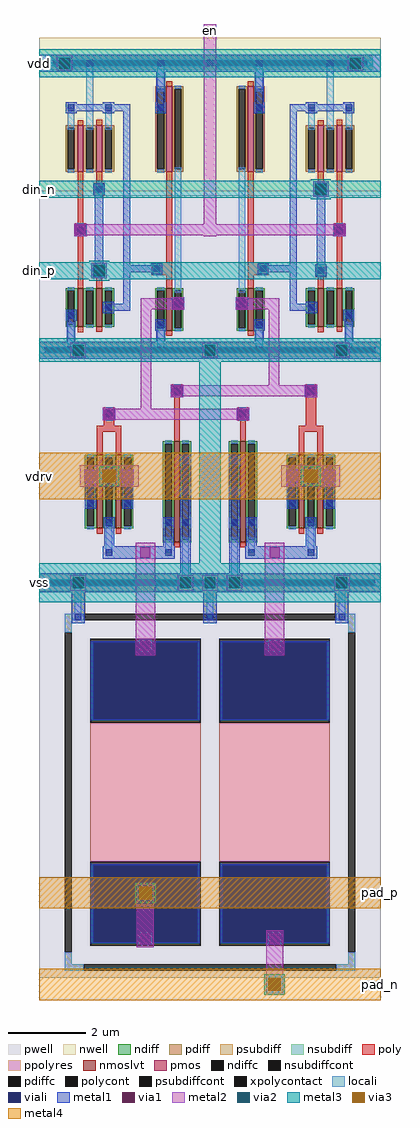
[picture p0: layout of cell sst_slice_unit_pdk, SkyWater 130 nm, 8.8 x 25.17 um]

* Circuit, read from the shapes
.subckt sst_slice_unit_pdk din_p din_n en pad_p pad_n vdrv vdd vss
XM1 n1 en vss vss sky130_fd_pr__nfet_01v8_lvt w=1 l=0.15
XM2 n2 din_p n1 vss sky130_fd_pr__nfet_01v8_lvt w=1 l=0.15
XM3 n3 n4 vdrv vss sky130_fd_pr__nfet_01v8_lvt w=1.9 l=0.15 m=2
XM4 n4 n2 vss vss sky130_fd_pr__nfet_01v8_lvt w=1.1 l=0.15
XM5 vss n5 n3 vss sky130_fd_pr__nfet_01v8_lvt w=2.6 l=0.15
XM6 n6 n4 vss vss sky130_fd_pr__nfet_01v8_lvt w=2.6 l=0.15
XM7 vss n7 n5 vss sky130_fd_pr__nfet_01v8_lvt w=1.1 l=0.15
XM8 n6 n5 vdrv vss sky130_fd_pr__nfet_01v8_lvt w=1.9 l=0.15 m=2
XM9 n8 din_n n7 vss sky130_fd_pr__nfet_01v8_lvt w=1 l=0.15
XM10 vss en n8 vss sky130_fd_pr__nfet_01v8_lvt w=1 l=0.15
XM11 vdd en n2 vdd sky130_fd_pr__pfet_01v8 w=1.2 l=0.15
XM12 n2 din_p vdd vdd sky130_fd_pr__pfet_01v8 w=1.2 l=0.15
XM13 n4 n2 vdd vdd sky130_fd_pr__pfet_01v8 w=2.2 l=0.15
XM14 vdd n7 n5 vdd sky130_fd_pr__pfet_01v8 w=2.2 l=0.15
XM15 vdd din_n n7 vdd sky130_fd_pr__pfet_01v8 w=1.2 l=0.15
XM16 n7 en vdd vdd sky130_fd_pr__pfet_01v8 w=1.2 l=0.15
XR17 n3 pad_p vss sky130_fd_pr__res_high_po w=2.85 l=3.59
XR18 n6 pad_n vss sky130_fd_pr__res_high_po w=2.85 l=3.59
.ends

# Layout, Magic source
magic
tech sky130A
magscale 1 2
<< pwell >>
rect -784 -957 784 957
rect -880 -957 880 3080
<< psubdiff >>
rect -748 887 -652 921
rect 652 887 748 921
rect -748 825 -714 887
rect 714 825 748 887
rect -748 -887 -714 -825
rect 714 -887 748 -825
rect -748 -921 -652 -887
rect 652 -921 748 -887
rect -880 1036 880 1124
rect -716 900 -644 1080
rect -36 900 36 1080
rect 644 900 716 1080
rect -880 2245 880 2315
<< psubdiffcont >>
rect -652 887 652 921
rect -748 -825 -714 825
rect 714 -825 748 825
rect -652 -921 652 -887
rect -852 1063 852 1097
rect -852 2263 852 2297
<< xpolycontact >>
rect -618 359 -48 791
rect -618 -791 -48 -359
rect 48 359 618 791
rect 48 -791 618 -359
<< ppolyres >>
rect -618 -359 -48 359
rect 48 -359 618 359
<< locali >>
rect -748 887 -652 921
rect 652 887 748 921
rect -748 825 -714 887
rect 714 825 748 887
rect -748 -887 -714 -825
rect 714 -887 748 -825
rect -748 -921 -652 -887
rect 652 -921 748 -887
rect -880 1063 880 1097
rect -697 900 -663 1080
rect -17 900 17 1080
rect 663 900 697 1080
rect -633 1728 -599 1744
rect -633 1356 -599 1372
rect -537 1728 -503 1744
rect -537 1356 -503 1372
rect -441 1728 -407 1744
rect -441 1356 -407 1372
rect -231 1798 -197 1814
rect -231 1286 -197 1302
rect -143 1798 -109 1814
rect -143 1286 -109 1302
rect 109 1798 143 1814
rect 109 1286 143 1302
rect 197 1798 231 1814
rect 197 1286 231 1302
rect 407 1728 441 1744
rect 407 1356 441 1372
rect 503 1728 537 1744
rect 503 1356 537 1372
rect 599 1728 633 1744
rect 599 1356 633 1372
rect -537 1236 -503 1384
rect -231 1236 -197 1314
rect -143 1080 -109 1314
rect 503 1236 537 1384
rect 197 1236 231 1314
rect 109 1080 143 1314
rect -538 1916 -502 1984
rect 152 1916 188 1984
rect -188 2036 -152 2104
rect 502 2036 538 2104
rect -880 2263 880 2297
rect -840 3743 840 3777
rect -733 2588 -699 2604
rect -733 2396 -699 2412
rect -637 2588 -603 2604
rect -637 2396 -603 2412
rect -541 2588 -507 2604
rect -541 2396 -507 2412
rect -733 3428 -699 3444
rect -733 3196 -699 3212
rect -637 3428 -603 3444
rect -637 3196 -603 3212
rect -541 3428 -507 3444
rect -541 3196 -507 3212
rect 507 2588 541 2604
rect 507 2396 541 2412
rect 603 2588 637 2604
rect 603 2396 637 2412
rect 699 2588 733 2604
rect 699 2396 733 2412
rect 507 3428 541 3444
rect 507 3196 541 3212
rect 603 3428 637 3444
rect 603 3196 637 3212
rect 699 3428 733 3444
rect 699 3196 733 3212
rect -271 2588 -237 2604
rect -271 2376 -237 2392
rect -183 2588 -149 2604
rect -183 2376 -149 2392
rect -271 3628 -237 3644
rect -271 3196 -237 3212
rect -183 3628 -149 3644
rect -183 3196 -149 3212
rect 149 2588 183 2604
rect 149 2376 183 2392
rect 237 2588 271 2604
rect 237 2376 271 2392
rect 149 3628 183 3644
rect 149 3196 183 3212
rect 237 3628 271 3644
rect 237 3196 271 3212
rect -590 2656 -554 2724
rect -590 3076 -554 3144
rect -686 2866 -650 2934
rect -733 2280 -699 2424
rect -637 3416 -603 3760
rect -733 3416 -699 3530
rect -541 3416 -507 3530
rect -292 2666 -256 2734
rect -271 2280 -237 2404
rect -271 3616 -237 3760
rect -183 2576 -149 3224
rect 554 2656 590 2724
rect 554 3076 590 3144
rect 650 2866 686 2934
rect 699 2280 733 2424
rect 603 3416 637 3760
rect 507 3416 541 3530
rect 699 3416 733 3530
rect 256 2666 292 2734
rect 237 2280 271 2404
rect 237 3616 271 3760
rect 149 2576 183 3224
<< viali >>
rect -602 376 -64 773
rect 64 376 602 773
rect -602 -773 -64 -376
rect 64 -773 602 -376
rect -697 1063 -663 1097
rect -697 887 -663 921
rect -17 1063 17 1097
rect -17 887 17 921
rect 663 1063 697 1097
rect 663 887 697 921
rect -143 1063 -109 1097
rect 109 1063 143 1097
rect -633 1473 -599 1507
rect -633 1613 -599 1647
rect -441 1473 -407 1507
rect -441 1613 -407 1647
rect 407 1473 441 1507
rect 407 1613 441 1647
rect 599 1473 633 1507
rect 599 1613 633 1647
rect -537 1219 -503 1253
rect -231 1219 -197 1253
rect -537 1373 -503 1407
rect -231 1373 -197 1407
rect -143 1373 -109 1407
rect -143 1533 -109 1567
rect -143 1693 -109 1727
rect 503 1219 537 1253
rect 197 1219 231 1253
rect 503 1373 537 1407
rect 197 1373 231 1407
rect 109 1373 143 1407
rect 109 1533 143 1567
rect 109 1693 143 1727
rect -537 1933 -503 1967
rect 153 1933 187 1967
rect -187 2053 -153 2087
rect 503 2053 537 2087
rect -697 2263 -663 2297
rect -17 2263 17 2297
rect 663 2263 697 2297
rect -767 3743 -733 3777
rect 733 3743 767 3777
rect -17 3743 17 3777
rect -589 2673 -555 2707
rect -589 3093 -555 3127
rect -685 2883 -651 2917
rect -733 2443 -699 2477
rect -637 3743 -603 3777
rect -733 3513 -699 3547
rect -541 3513 -507 3547
rect -541 2483 -507 2517
rect -291 2683 -257 2717
rect -271 2393 -237 2427
rect -271 3513 -237 3547
rect -271 3743 -237 3777
rect -183 2503 -149 2537
rect 555 2673 589 2707
rect 555 3093 589 3127
rect 651 2883 685 2917
rect 699 2443 733 2477
rect 603 3743 637 3777
rect 507 3513 541 3547
rect 699 3513 733 3547
rect 507 2483 541 2517
rect 257 2683 291 2717
rect 237 2393 271 2427
rect 237 3513 271 3547
rect 237 3743 271 3777
rect 149 2503 183 2537
<< metal1 >>
rect -614 773 -52 779
rect -614 376 -602 773
rect -64 376 -52 773
rect -614 370 -52 376
rect 52 773 614 779
rect 52 376 64 773
rect 602 376 614 773
rect 52 370 614 376
rect -614 -376 -52 -370
rect -614 -773 -602 -376
rect -64 -773 -52 -376
rect -614 -779 -52 -773
rect 52 -376 614 -370
rect 52 -773 64 -376
rect 602 -773 614 -376
rect 52 -779 614 -773
rect -365 -788 -301 -724
rect 301 -788 365 -724
rect -880 1030 880 1130
rect -709 1051 -651 1109
rect -712 1048 -648 1112
rect -709 875 -651 933
rect -714 870 -646 1114
rect -29 1051 29 1109
rect -32 1048 32 1112
rect -29 875 29 933
rect -34 870 34 1114
rect 651 1051 709 1109
rect 648 1048 712 1112
rect 651 875 709 933
rect 646 870 714 1114
rect -155 1051 -97 1109
rect -158 1048 -94 1112
rect 97 1051 155 1109
rect 94 1048 158 1112
rect -645 1461 -587 1519
rect -645 1601 -587 1659
rect -644 1462 -588 1658
rect -648 1598 -584 1662
rect -453 1461 -395 1519
rect -453 1601 -395 1659
rect -452 1462 -396 1658
rect -456 1598 -392 1662
rect 395 1461 453 1519
rect 395 1601 453 1659
rect 396 1462 452 1658
rect 392 1598 456 1662
rect 587 1461 645 1519
rect 587 1601 645 1659
rect 588 1462 644 1658
rect 584 1598 648 1662
rect -549 1207 -491 1265
rect -243 1207 -185 1265
rect -549 1361 -491 1419
rect -243 1361 -185 1419
rect -546 1210 -494 1416
rect -240 1210 -188 1416
rect -552 1204 -182 1268
rect -365 1204 -301 1268
rect -365 724 -301 788
rect -155 1361 -97 1419
rect -155 1521 -97 1579
rect -155 1681 -97 1739
rect -154 1052 -98 1738
rect 491 1207 549 1265
rect 185 1207 243 1265
rect 491 1361 549 1419
rect 185 1361 243 1419
rect 494 1210 546 1416
rect 188 1210 240 1416
rect 182 1204 552 1268
rect 301 1204 365 1268
rect 301 724 365 788
rect 97 1361 155 1419
rect 97 1521 155 1579
rect 97 1681 155 1739
rect 98 1052 154 1738
rect -549 1921 -491 1979
rect -552 1918 -488 1982
rect 141 1921 199 1979
rect 138 1918 202 1982
rect -199 2041 -141 2099
rect -202 2038 -138 2102
rect 491 2041 549 2099
rect 488 2038 552 2102
rect -880 2236 880 2324
rect -709 2251 -651 2309
rect -712 2248 -648 2312
rect -29 2251 29 2309
rect -32 2248 32 2312
rect 651 2251 709 2309
rect 648 2248 712 2312
rect -880 3716 880 3804
rect -779 3731 -721 3789
rect -782 3728 -718 3792
rect 721 3731 779 3789
rect 718 3728 782 3792
rect -29 3731 29 3789
rect -601 2661 -543 2719
rect -601 3081 -543 3139
rect -594 2668 -550 3132
rect -604 2658 -540 2722
rect -697 2871 -639 2929
rect -700 2868 -636 2932
rect -745 2431 -687 2489
rect -738 2258 -694 2482
rect -649 3731 -591 3789
rect -745 3501 -687 3559
rect -553 3501 -495 3559
rect -734 3512 -506 3548
rect -542 3512 -412 3548
rect -553 2471 -495 2529
rect -542 2482 -412 2518
rect -448 2482 -412 3548
rect -303 2671 -245 2729
rect -448 2682 -256 2718
rect -283 2381 -225 2439
rect -276 2258 -232 2432
rect -283 3501 -225 3559
rect -283 3731 -225 3789
rect -276 3508 -232 3782
rect -195 2491 -137 2549
rect -198 2488 -134 2552
rect 543 2661 601 2719
rect 543 3081 601 3139
rect 550 2668 594 3132
rect 540 3078 604 3142
rect 639 2871 697 2929
rect 636 2868 700 2932
rect 687 2431 745 2489
rect 694 2258 738 2482
rect 591 3731 649 3789
rect 495 3501 553 3559
rect 687 3501 745 3559
rect 506 3512 734 3548
rect 412 3512 542 3548
rect 495 2471 553 2529
rect 412 2482 542 2518
rect 412 2482 448 3548
rect 245 2671 303 2729
rect 256 2682 448 2718
rect 225 2381 283 2439
rect 232 2258 276 2432
rect 225 3501 283 3559
rect 225 3731 283 3789
rect 232 3508 276 3782
rect 137 2491 195 2549
rect 134 2488 198 2552
<< metal4 >>
rect -880 -600 880 -440
rect -880 -1072 880 -912
rect -385 -572 -281 -468
rect 281 -1044 385 -940
rect -880 1510 880 1750
rect -572 1578 -468 1682
rect 468 1578 572 1682
<< via1 >>
rect -359 -782 -307 -730
rect 307 -782 359 -730
rect -706 1054 -654 1106
rect -26 1054 26 1106
rect 654 1054 706 1106
rect -152 1054 -100 1106
rect 100 1054 152 1106
rect -642 1604 -590 1656
rect -450 1604 -398 1656
rect 398 1604 450 1656
rect 590 1604 642 1656
rect -359 1210 -307 1262
rect -359 730 -307 782
rect 307 1210 359 1262
rect 307 730 359 782
rect -546 1924 -494 1976
rect 144 1924 196 1976
rect -196 2044 -144 2096
rect 494 2044 546 2096
rect -706 2254 -654 2306
rect -26 2254 26 2306
rect 654 2254 706 2306
rect -776 3734 -724 3786
rect 724 3734 776 3786
rect -598 2664 -546 2716
rect -694 2874 -642 2926
rect -192 2494 -140 2546
rect 546 3084 598 3136
rect 642 2874 694 2926
rect 140 2494 192 2546
<< metal2 >>
rect -365 -788 -301 -724
rect -377 -800 -289 -476
rect -373 -560 -293 -480
rect 301 -788 365 -724
rect 289 -1036 377 -712
rect 293 -1032 373 -952
rect -712 1048 -648 1112
rect -720 1040 -640 1120
rect -32 1048 32 1112
rect -40 1040 40 1120
rect 648 1048 712 1112
rect 640 1040 720 1120
rect -158 1048 -94 1112
rect -166 1040 -86 1120
rect 94 1048 158 1112
rect 86 1040 166 1120
rect -648 1598 -584 1662
rect -456 1598 -392 1662
rect -672 1574 -368 1686
rect -560 1590 -480 1670
rect 392 1598 456 1662
rect 584 1598 648 1662
rect 368 1574 672 1686
rect 480 1590 560 1670
rect -365 1204 -301 1268
rect -365 724 -301 788
rect -383 706 -283 1286
rect 301 1204 365 1268
rect 301 724 365 788
rect 283 706 383 1286
rect -552 1918 -488 1982
rect 138 1918 202 1982
rect -548 1922 198 1978
rect -202 2038 -138 2102
rect 488 2038 552 2102
rect -198 2042 548 2098
rect -712 2248 -648 2312
rect -720 2240 -640 2320
rect -32 2248 32 2312
rect -40 2240 40 2320
rect 648 2248 712 2312
rect 640 2240 720 2320
rect -782 3728 -718 3792
rect -790 3720 -710 3800
rect 718 3728 782 3792
rect 710 3720 790 3800
rect -604 2658 -540 2722
rect -612 2650 -532 2730
rect -700 2868 -636 2932
rect -198 2488 -134 2552
rect -358 2492 -138 2548
rect -358 1922 -302 2548
rect 540 3078 604 3142
rect 532 3070 612 3150
rect 636 2868 700 2932
rect 134 2488 198 2552
rect 138 2492 358 2548
rect 302 2042 358 2548
rect -696 2872 696 2928
rect -32 2868 32 3962
<< via2 >>
rect -361 -548 -305 -492
rect 305 -1020 361 -964
rect -708 1052 -652 1108
rect -28 1052 28 1108
rect 652 1052 708 1108
rect -154 1052 -98 1108
rect 98 1052 154 1108
rect -548 1602 -492 1658
rect 492 1602 548 1658
rect -708 2252 -652 2308
rect -28 2252 28 2308
rect 652 2252 708 2308
rect -778 3732 -722 3788
rect 722 3732 778 3788
rect -600 2662 -544 2718
rect 544 3082 600 3138
<< metal3 >>
rect -373 -560 -293 -480
rect -385 -572 -281 -468
rect -385 -572 -281 -468
rect 293 -1032 373 -952
rect 281 -1044 385 -940
rect 281 -1044 385 -940
rect -880 980 880 1180
rect -720 1040 -640 1120
rect -732 1028 -628 1132
rect -40 1040 40 1120
rect -52 1028 52 1132
rect 640 1040 720 1120
rect 628 1028 732 1132
rect -166 1040 -86 1120
rect -178 1028 -74 1132
rect 86 1040 166 1120
rect 74 1028 178 1132
rect -560 1590 -480 1670
rect -572 1578 -468 1682
rect -572 1578 -468 1682
rect 480 1590 560 1670
rect 468 1578 572 1682
rect 468 1578 572 1682
rect -880 2220 880 2340
rect -720 2240 -640 2320
rect -732 2228 -628 2332
rect -40 2240 40 2320
rect -52 2228 52 2332
rect 640 2240 720 2320
rect 628 2228 732 2332
rect -56 1024 56 2336
rect -880 3688 880 3832
rect -790 3720 -710 3800
rect -802 3708 -698 3812
rect 710 3720 790 3800
rect 698 3708 802 3812
rect -880 2646 880 2734
rect -880 3066 880 3154
rect -612 2650 -532 2730
rect -624 2638 -520 2742
rect 532 3070 612 3150
rect 520 3058 624 3162
<< via3 >>
rect -365 -552 -301 -488
rect 301 -1024 365 -960
rect -552 1598 -488 1662
rect 488 1598 552 1662
<< nmoslvt >>
rect -583 1360 -553 1740
rect -487 1360 -457 1740
rect -185 1290 -155 1810
rect 155 1290 185 1810
rect 457 1360 487 1740
rect 553 1360 583 1740
rect -683 2400 -653 2600
rect -587 2400 -557 2600
rect 557 2400 587 2600
rect 653 2400 683 2600
rect -225 2380 -195 2600
rect 195 2380 225 2600
<< ndiff >>
rect -645 1728 -583 1740
rect -645 1372 -633 1728
rect -599 1372 -583 1728
rect -645 1360 -583 1372
rect -553 1728 -487 1740
rect -553 1372 -537 1728
rect -503 1372 -487 1728
rect -553 1360 -487 1372
rect -457 1728 -395 1740
rect -457 1372 -441 1728
rect -407 1372 -395 1728
rect -457 1360 -395 1372
rect -243 1798 -185 1810
rect -243 1302 -231 1798
rect -197 1302 -185 1798
rect -243 1290 -185 1302
rect -155 1798 -97 1810
rect -155 1302 -143 1798
rect -109 1302 -97 1798
rect -155 1290 -97 1302
rect 97 1798 155 1810
rect 97 1302 109 1798
rect 143 1302 155 1798
rect 97 1290 155 1302
rect 185 1798 243 1810
rect 185 1302 197 1798
rect 231 1302 243 1798
rect 185 1290 243 1302
rect 395 1728 457 1740
rect 395 1372 407 1728
rect 441 1372 457 1728
rect 395 1360 457 1372
rect 487 1728 553 1740
rect 487 1372 503 1728
rect 537 1372 553 1728
rect 487 1360 553 1372
rect 583 1728 645 1740
rect 583 1372 599 1728
rect 633 1372 645 1728
rect 583 1360 645 1372
rect -745 2588 -683 2600
rect -745 2412 -733 2588
rect -699 2412 -683 2588
rect -745 2400 -683 2412
rect -653 2588 -587 2600
rect -653 2412 -637 2588
rect -603 2412 -587 2588
rect -653 2400 -587 2412
rect -557 2588 -495 2600
rect -557 2412 -541 2588
rect -507 2412 -495 2588
rect -557 2400 -495 2412
rect 495 2588 557 2600
rect 495 2412 507 2588
rect 541 2412 557 2588
rect 495 2400 557 2412
rect 587 2588 653 2600
rect 587 2412 603 2588
rect 637 2412 653 2588
rect 587 2400 653 2412
rect 683 2588 745 2600
rect 683 2412 699 2588
rect 733 2412 745 2588
rect 683 2400 745 2412
rect -283 2588 -225 2600
rect -283 2392 -271 2588
rect -237 2392 -225 2588
rect -283 2380 -225 2392
rect -195 2588 -137 2600
rect -195 2392 -183 2588
rect -149 2392 -137 2588
rect -195 2380 -137 2392
rect 137 2588 195 2600
rect 137 2392 149 2588
rect 183 2392 195 2588
rect 137 2380 195 2392
rect 225 2588 283 2600
rect 225 2392 237 2588
rect 271 2392 283 2588
rect 225 2380 283 2392
<< ndiffc >>
rect -633 1372 -599 1728
rect -537 1372 -503 1728
rect -441 1372 -407 1728
rect -231 1302 -197 1798
rect -143 1302 -109 1798
rect 109 1302 143 1798
rect 197 1302 231 1798
rect 407 1372 441 1728
rect 503 1372 537 1728
rect 599 1372 633 1728
rect -733 2412 -699 2588
rect -637 2412 -603 2588
rect -541 2412 -507 2588
rect 507 2412 541 2588
rect 603 2412 637 2588
rect 699 2412 733 2588
rect -271 2392 -237 2588
rect -183 2392 -149 2588
rect 149 2392 183 2588
rect 237 2392 271 2588
<< poly >>
rect -583 1740 -553 1766
rect -487 1740 -457 1768
rect -583 1332 -553 1360
rect -487 1334 -457 1360
rect -185 1810 -155 1836
rect -185 1264 -155 1290
rect 155 1810 185 1836
rect 155 1264 185 1290
rect 457 1740 487 1766
rect 553 1740 583 1768
rect 457 1332 487 1360
rect 553 1334 583 1360
rect -583 1740 -553 1890
rect -487 1740 -457 1890
rect -583 1860 -457 1890
rect -547 1860 -493 1950
rect -547 1916 -493 1984
rect 155 1810 185 1950
rect 143 1916 197 1984
rect -185 1810 -155 2070
rect -197 2036 -143 2104
rect 457 1740 487 1890
rect 553 1740 583 1890
rect 457 1860 583 1890
rect 493 1860 547 2070
rect 493 2036 547 2104
rect -683 2600 -653 2626
rect -587 2600 -557 2628
rect -683 2372 -653 2400
rect -587 2374 -557 2400
rect -683 3440 -653 3466
rect -587 3440 -557 3468
rect -683 3172 -653 3200
rect -587 3174 -557 3200
rect 557 2600 587 2626
rect 653 2600 683 2628
rect 557 2372 587 2400
rect 653 2374 683 2400
rect 557 3440 587 3466
rect 653 3440 683 3468
rect 557 3172 587 3200
rect 653 3174 683 3200
rect -225 2600 -195 2626
rect -225 2354 -195 2380
rect -225 3640 -195 3666
rect -225 3174 -195 3200
rect 195 2600 225 2626
rect 195 2354 225 2380
rect 195 3640 225 3666
rect 195 3174 225 3200
rect -587 2600 -557 2724
rect -587 3076 -557 3200
rect -599 2656 -545 2724
rect -599 3076 -545 3144
rect -683 2600 -653 3200
rect -695 2866 -641 2934
rect -225 2600 -195 3200
rect -289 2666 -195 2734
rect -301 2666 -247 2734
rect 557 2600 587 2724
rect 557 3076 587 3200
rect 545 2656 599 2724
rect 545 3076 599 3144
rect 653 2600 683 3200
rect 641 2866 695 2934
rect 195 2600 225 3200
rect 195 2666 289 2734
rect 247 2666 301 2734
<< polycont >>
rect -537 1933 -503 1967
rect 153 1933 187 1967
rect -187 2053 -153 2087
rect 503 2053 537 2087
rect -589 2673 -555 2707
rect -589 3093 -555 3127
rect -685 2883 -651 2917
rect -291 2683 -257 2717
rect 555 2673 589 2707
rect 555 3093 589 3127
rect 651 2883 685 2917
rect 257 2683 291 2717
<< nwell >>
rect -880 3100 880 3890
<< nsubdiff >>
rect -840 3725 840 3795
<< nsubdiffcont >>
rect -812 3743 812 3777
<< pmos >>
rect -683 3200 -653 3440
rect -587 3200 -557 3440
rect 557 3200 587 3440
rect 653 3200 683 3440
rect -225 3200 -195 3640
rect 195 3200 225 3640
<< pdiff >>
rect -745 3428 -683 3440
rect -745 3212 -733 3428
rect -699 3212 -683 3428
rect -745 3200 -683 3212
rect -653 3428 -587 3440
rect -653 3212 -637 3428
rect -603 3212 -587 3428
rect -653 3200 -587 3212
rect -557 3428 -495 3440
rect -557 3212 -541 3428
rect -507 3212 -495 3428
rect -557 3200 -495 3212
rect 495 3428 557 3440
rect 495 3212 507 3428
rect 541 3212 557 3428
rect 495 3200 557 3212
rect 587 3428 653 3440
rect 587 3212 603 3428
rect 637 3212 653 3428
rect 587 3200 653 3212
rect 683 3428 745 3440
rect 683 3212 699 3428
rect 733 3212 745 3428
rect 683 3200 745 3212
rect -283 3628 -225 3640
rect -283 3212 -271 3628
rect -237 3212 -225 3628
rect -283 3200 -225 3212
rect -195 3628 -137 3640
rect -195 3212 -183 3628
rect -149 3212 -137 3628
rect -195 3200 -137 3212
rect 137 3628 195 3640
rect 137 3212 149 3628
rect 183 3212 195 3628
rect 137 3200 195 3212
rect 225 3628 283 3640
rect 225 3212 237 3628
rect 271 3212 283 3628
rect 225 3200 283 3212
<< pdiffc >>
rect -733 3212 -699 3428
rect -637 3212 -603 3428
rect -541 3212 -507 3428
rect 507 3212 541 3428
rect 603 3212 637 3428
rect 699 3212 733 3428
rect -271 3212 -237 3628
rect -183 3212 -149 3628
rect 149 3212 183 3628
rect 237 3212 271 3628
<< labels >>
rlabel metal3 -880 2690 -880 2690 0 din_p
port 1 nsew
rlabel metal3 -880 3110 -880 3110 0 din_n
port 2 nsew
rlabel metal2 0 3930 0 3930 0 en
port 3 nsew
rlabel metal4 880 -520 880 -520 0 pad_p
port 4 nsew
rlabel metal4 880 -992 880 -992 0 pad_n
port 5 nsew
rlabel metal4 -880 1630 -880 1630 0 vdrv
port 6 nsew
rlabel metal3 -880 3760 -880 3760 0 vdd
port 7 nsew
rlabel metal3 -880 1080 -880 1080 0 vss
port 8 nsew
<< end >>
